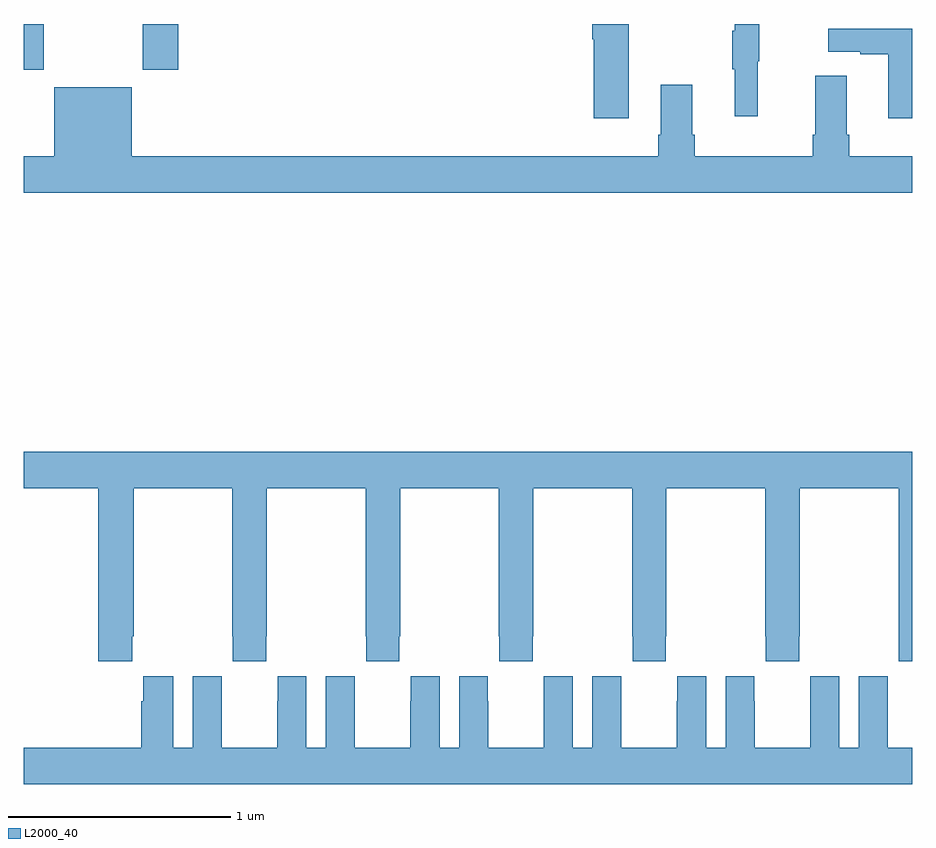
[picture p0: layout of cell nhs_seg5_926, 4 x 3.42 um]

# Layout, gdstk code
import gdstk
lib = gdstk.Library(unit=1e-6, precision=1e-09)
def R(c, l, rs):  # rectangles x0, y0, x1, y1
    for r in rs: c.add(gdstk.rectangle(r[:2], r[2:], *l))
def P(c, l, *ps):  # polygons
    for p in ps: c.add(gdstk.Polygon(p, *l))
L2000_40 = (2000, 40)

nhs_seg5_926 = lib.new_cell('nhs_seg5_926')
R(nhs_seg5_926, L2000_40, [(169,910.593,169.089,910.799), (169.534,910.593,169.694,910.799)])
P(nhs_seg5_926, L2000_40, [(172.304,910.632),(172.312,910.632),(172.312,910.799),(172.202,910.799),(172.202,910.769),(172.191,910.769),(172.191,910.595),(172.202,910.595),(172.202,910.383),(172.304,910.383)],
  [(171.724,910.799),(171.56,910.799),(171.56,910.731),(171.566,910.731),(171.566,910.374),(171.724,910.374)],
  [(173,910.777),(172.623,910.777),(172.623,910.673),(172.766,910.673),(172.766,910.663),(172.892,910.663),(172.892,910.374),(173,910.374)],
  [(173,910.204),(172.718,910.204),(172.718,910.3),(172.705,910.3),(172.705,910.567),(172.565,910.567),(172.565,910.3),(172.553,910.3),(172.553,910.204),(172.022,910.204),(172.022,910.3),(172.009,910.3),(172.009,910.525),(171.869,910.525),(171.869,910.3),(171.857,910.3),(171.857,910.204),(169.486,910.204),(169.486,910.513),(169.136,910.513),(169.136,910.204),(169,910.204),(169,910.04),(173,910.04)],
  [(169,908.708),(169.334,908.708),(169.334,907.929),(169.487,907.929),(169.487,908.041),(169.494,908.041),(169.494,908.708),(169.939,908.708),(169.939,908.041),(169.941,908.041),(169.941,907.929),(170.091,907.929),(170.091,908.041),(170.094,908.041),(170.094,908.708),(170.539,908.708),(170.539,908.041),(170.541,908.041),(170.541,907.929),(170.691,907.929),(170.691,908.041),(170.694,908.041),(170.694,908.708),(171.139,908.708),(171.139,908.041),(171.141,908.041),(171.141,907.929),(171.291,907.929),(171.291,908.041),(171.294,908.041),(171.294,908.708),(171.739,908.708),(171.739,908.041),(171.741,908.041),(171.741,907.929),(171.891,907.929),(171.891,908.041),(171.894,908.041),(171.894,908.708),(172.339,908.708),(172.339,908.041),(172.341,908.041),(172.341,907.929),(172.491,907.929),(172.491,908.041),(172.494,908.041),(172.494,908.708),(172.939,908.708),(172.939,908.041),(172.941,908.041),(172.941,907.929),(173,907.929),(173,908.872),(169,908.872)],
  [(173,907.54),(172.891,907.54),(172.891,907.748),(172.89,907.748),(172.89,907.861),(172.76,907.861),(172.76,907.54),(172.672,907.54),(172.672,907.861),(172.542,907.861),(172.542,907.748),(172.541,907.748),(172.541,907.54),(172.291,907.54),(172.291,907.748),(172.29,907.748),(172.29,907.861),(172.16,907.861),(172.16,907.54),(172.072,907.54),(172.072,907.861),(171.942,907.861),(171.942,907.748),(171.941,907.748),(171.941,907.54),(171.691,907.54),(171.691,907.748),(171.69,907.748),(171.69,907.861),(171.56,907.861),(171.56,907.54),(171.472,907.54),(171.472,907.861),(171.342,907.861),(171.342,907.748),(171.341,907.748),(171.341,907.54),(171.091,907.54),(171.091,907.748),(171.09,907.748),(171.09,907.861),(170.96,907.861),(170.96,907.54),(170.872,907.54),(170.872,907.861),(170.742,907.861),(170.742,907.748),(170.741,907.748),(170.741,907.54),(170.491,907.54),(170.491,907.748),(170.49,907.748),(170.49,907.861),(170.36,907.861),(170.36,907.54),(170.272,907.54),(170.272,907.861),(170.142,907.861),(170.142,907.748),(170.141,907.748),(170.141,907.54),(169.891,907.54),(169.891,907.748),(169.89,907.748),(169.89,907.861),(169.76,907.861),(169.76,907.54),(169.672,907.54),(169.672,907.861),(169.538,907.861),(169.538,907.748),(169.529,907.748),(169.529,907.54),(169,907.54),(169,907.376),(173,907.376)])

lib.write_gds('nhs_seg5_926.gds')
